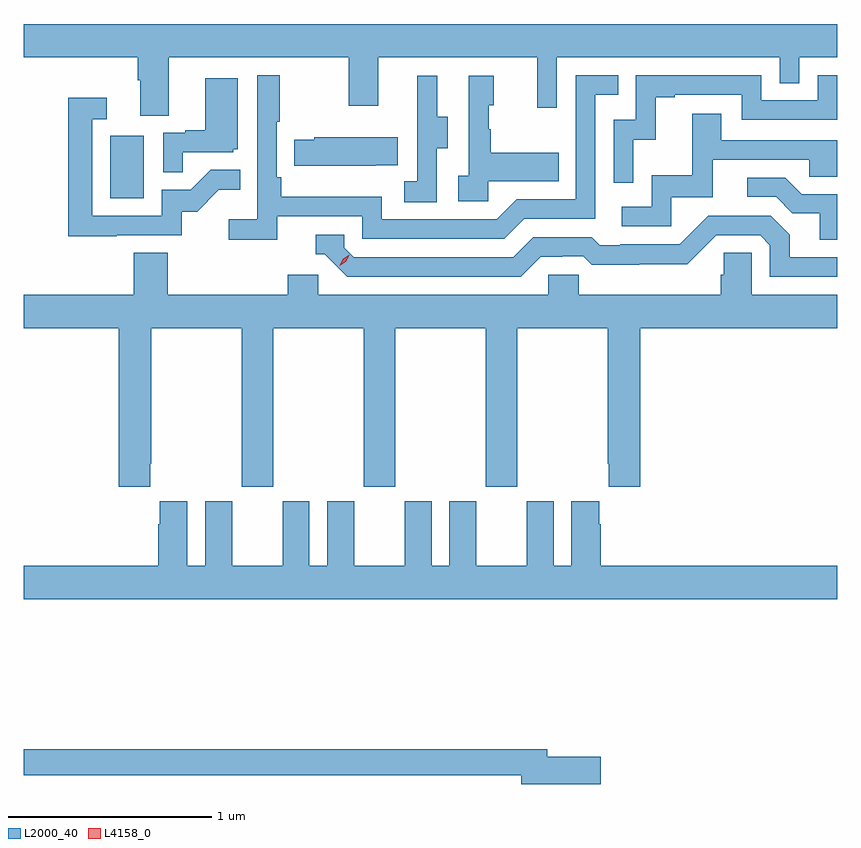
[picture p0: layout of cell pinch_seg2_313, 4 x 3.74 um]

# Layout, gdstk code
import gdstk
lib = gdstk.Library(unit=1e-6, precision=1e-09)
def R(c, l, rs):  # rectangles x0, y0, x1, y1
    for r in rs: c.add(gdstk.rectangle(r[:2], r[2:], *l))
def P(c, l, *ps):  # polygons
    for p in ps: c.add(gdstk.Polygon(p, *l))
L2000_40 = (2000, 40)
L4158_0 = (4158, 0)

pinch_seg2_313 = lib.new_cell('pinch_seg2_313')
R(pinch_seg2_313, L2000_40, [(921.008,626.964,921.172,627.271)])
P(pinch_seg2_313, L2000_40, [(921.295,627.656),(922.18,627.656),(922.18,627.417),(922.327,627.417),(922.327,627.656),(923.108,627.656),(923.108,627.408),(923.205,627.408),(923.205,627.656),(924.3,627.656),(924.3,627.529),(924.396,627.529),(924.396,627.656),(924.583,627.656),(924.583,627.82),(920.583,627.82),(920.583,627.656),(921.143,627.656),(921.143,627.544),(921.155,627.544),(921.155,627.37),(921.295,627.37)],
  [(921.83,626.874),(922.248,626.874),(922.248,626.763),(922.945,626.763),(923.044,626.862),(923.394,626.862),(923.394,627.471),(923.507,627.471),(923.507,627.567),(923.298,627.567),(923.298,626.958),(923.007,626.958),(922.908,626.859),(922.344,626.859),(922.344,626.971),(921.848,626.971),(921.848,627.067),(921.828,627.067),(921.828,627.34),(921.841,627.34),(921.841,627.568),(921.732,627.568),(921.732,626.86),(921.591,626.86),(921.591,626.758),(921.83,626.758)],
  [(923.58,627.251),(923.69,627.251),(923.69,627.459),(923.785,627.459),(923.785,627.471),(924.114,627.471),(924.114,627.348),(924.582,627.348),(924.582,627.471),(924.583,627.471),(924.583,627.567),(924.486,627.567),(924.486,627.444),(924.21,627.444),(924.21,627.567),(923.592,627.567),(923.592,627.348),(923.484,627.348),(923.484,627.039),(923.58,627.039)],
  [(922.614,627.208),(922.669,627.208),(922.669,627.363),(922.615,627.363),(922.615,627.565),(922.517,627.565),(922.517,627.351),(922.518,627.351),(922.518,627.047),(922.455,627.047),(922.455,626.944),(922.614,626.944)],
  [(922.866,627.047),(923.213,627.047),(923.213,627.187),(922.879,627.187),(922.879,627.302),(922.869,627.302),(922.869,627.42),(922.894,627.42),(922.894,627.565),(922.77,627.565),(922.77,627.074),(922.719,627.074),(922.719,626.949),(922.866,626.949)],
  [(921.365,627.189),(921.612,627.189),(921.612,627.204),(921.634,627.204),(921.634,627.553),(921.476,627.553),(921.476,627.298),(921.377,627.298),(921.377,627.285),(921.27,627.285),(921.27,627.091),(921.365,627.091)],
  [(921.041,626.781),(921.36,626.781),(921.36,626.898),(921.436,626.898),(921.543,627.005),(921.647,627.005),(921.647,627.104),(921.503,627.104),(921.405,627.006),(921.261,627.006),(921.261,626.877),(920.919,626.877),(920.919,627.351),(920.992,627.351),(920.992,627.457),(920.803,627.457),(920.803,626.776),(921.041,626.776)],
  [(923.766,626.967),(923.971,626.967),(923.971,627.153),(924.445,627.153),(924.445,627.069),(924.582,627.069),(924.582,627.249),(924.013,627.249),(924.013,627.379),(923.869,627.379),(923.869,627.076),(923.67,627.076),(923.67,626.922),(923.523,626.922),(923.523,626.826),(923.766,626.826)],
  [(922.313,627.125),(922.421,627.125),(922.421,627.262),(922.011,627.262),(922.011,627.252),(921.913,627.252),(921.913,627.122),(922.313,627.122)],
  [(924.583,626.982),(924.409,626.982),(924.328,627.063),(924.141,627.063),(924.141,626.97),(924.282,626.97),(924.362,626.89),(924.497,626.89),(924.497,626.758),(924.583,626.758)],
  [(923.125,626.676),(923.232,626.676),(923.232,626.679),(923.335,626.679),(923.377,626.637),(923.61,626.637),(923.61,626.639),(923.846,626.639),(923.988,626.781),(924.204,626.781),(924.252,626.733),(924.252,626.577),(924.583,626.577),(924.583,626.673),(924.349,626.673),(924.349,626.783),(924.255,626.877),(923.949,626.877),(923.808,626.736),(923.515,626.736),(923.515,626.733),(923.416,626.733),(923.377,626.772),(923.088,626.772),(922.989,626.673),(922.206,626.673),(922.158,626.721),(922.158,626.784),(922.019,626.784),(922.019,626.688),(922.062,626.688),(922.173,626.577),(923.026,626.577)],
  [(921.205,625.657),(921.21,625.657),(921.21,626.324),(921.655,626.324),(921.655,625.545),(921.81,625.545),(921.81,626.324),(922.255,626.324),(922.255,625.545),(922.41,625.545),(922.41,626.324),(922.855,626.324),(922.855,625.545),(923.01,625.545),(923.01,626.324),(923.455,626.324),(923.455,625.657),(923.459,625.657),(923.459,625.545),(923.615,625.545),(923.615,626.324),(924.583,626.324),(924.583,626.488),(924.162,626.488),(924.162,626.696),(924.025,626.696),(924.025,626.586),(924.011,626.586),(924.011,626.488),(923.313,626.488),(923.313,626.586),(923.163,626.586),(923.163,626.488),(922.032,626.488),(922.032,626.586),(921.881,626.586),(921.881,626.488),(921.29,626.488),(921.29,626.696),(921.125,626.696),(921.125,626.488),(920.583,626.488),(920.583,626.324),(921.05,626.324),(921.05,625.545),(921.205,625.545)],
  [(923.413,625.361),(923.413,625.474),(923.276,625.474),(923.276,625.156),(923.188,625.156),(923.188,625.474),(923.057,625.474),(923.057,625.156),(922.807,625.156),(922.807,625.474),(922.676,625.474),(922.676,625.156),(922.588,625.156),(922.588,625.474),(922.457,625.474),(922.457,625.156),(922.207,625.156),(922.207,625.474),(922.076,625.474),(922.076,625.156),(921.988,625.156),(921.988,625.474),(921.857,625.474),(921.857,625.156),(921.607,625.156),(921.607,625.474),(921.476,625.474),(921.476,625.156),(921.388,625.156),(921.388,625.474),(921.251,625.474),(921.251,625.361),(921.245,625.361),(921.245,625.156),(920.583,625.156),(920.583,624.992),(924.583,624.992),(924.583,625.156),(923.42,625.156),(923.42,625.361)],
  [(923.419,624.218),(923.158,624.218),(923.158,624.254),(920.583,624.254),(920.583,624.126),(923.03,624.126),(923.03,624.083),(923.419,624.083)])
P(pinch_seg2_313, L4158_0, [(922.137,626.632),(922.137,626.633),(922.153,626.666),(922.183,626.686),(922.183,626.686),(922.183,626.686),(922.168,626.653),(922.138,626.632)])

lib.write_gds('pinch_seg2_313.gds')
